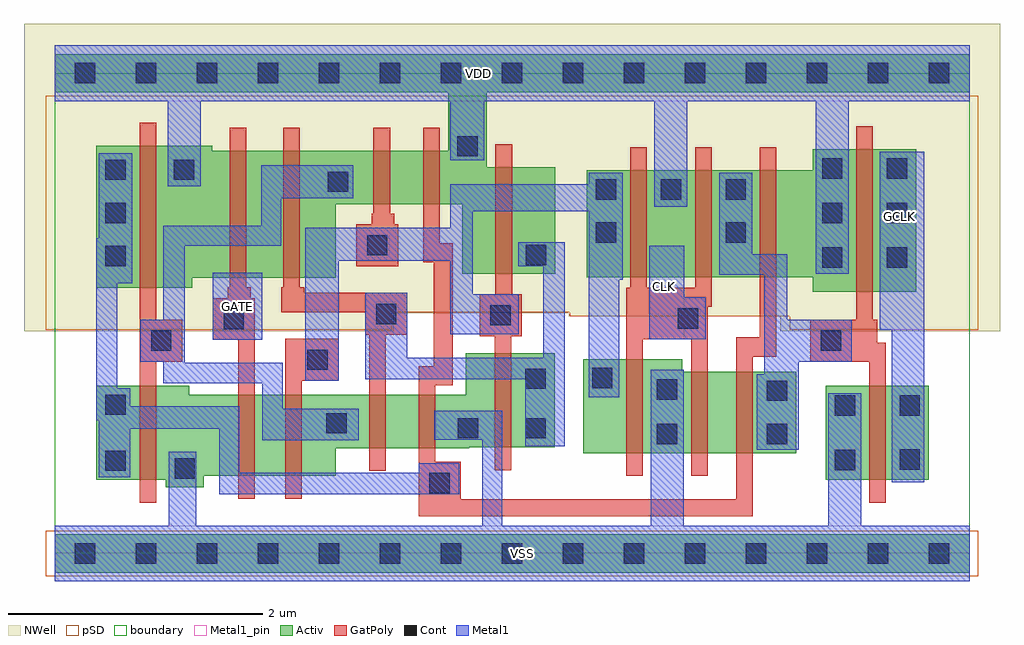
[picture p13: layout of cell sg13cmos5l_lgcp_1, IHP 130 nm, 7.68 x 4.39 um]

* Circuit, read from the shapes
.subckt sg13cmos5l_lgcp_1 CLK GATE GCLK VDD VSS
XM1 VSS n1 n2 VSS sg13_lv_nmos w=0.74u l=0.13u
XM2 n3 GATE VSS VSS sg13_lv_nmos w=0.64u l=0.13u
XM3 n1 n4 n3 VSS sg13_lv_nmos w=0.64u l=0.13u
XM4 n5 n6 n1 VSS sg13_lv_nmos w=0.42u l=0.13u
XM5 VSS n2 n5 VSS sg13_lv_nmos w=0.42u l=0.13u
XM6 n6 n4 VSS VSS sg13_lv_nmos w=0.74u l=0.13u
XM7 VSS CLK n4 VSS sg13_lv_nmos w=0.74u l=0.13u
XM8 n7 CLK VSS VSS sg13_lv_nmos w=0.64u l=0.13u
XM9 n8 n2 n7 VSS sg13_lv_nmos w=0.64u l=0.13u
XM10 GCLK n8 VSS VSS sg13_lv_nmos w=0.74u l=0.13u
XM11 VDD n1 n2 VDD sg13_lv_pmos w=1.12u l=0.13u
XM12 n9 GATE VDD VDD sg13_lv_pmos w=1u l=0.13u
XM13 n1 n6 n9 VDD sg13_lv_pmos w=1u l=0.13u
XM14 n10 n4 n1 VDD sg13_lv_pmos w=0.42u l=0.13u
XM15 VDD n2 n10 VDD sg13_lv_pmos w=0.42u l=0.13u
XM16 n6 n4 VDD VDD sg13_lv_pmos w=0.84u l=0.13u
XM17 VDD CLK n4 VDD sg13_lv_pmos w=0.84u l=0.13u
XM18 n8 CLK VDD VDD sg13_lv_pmos w=0.84u l=0.13u
XM19 VDD n2 n8 VDD sg13_lv_pmos w=0.84u l=0.13u
XM20 GCLK n8 VDD VDD sg13_lv_pmos w=1.12u l=0.13u
.ends

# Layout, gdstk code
import gdstk
lib = gdstk.Library(unit=1e-6, precision=1e-09)
def R(c, l, rs):  # rectangles x0, y0, x1, y1
    for r in rs: c.add(gdstk.rectangle(r[:2], r[2:], *l))
def A(c, l, x, y, w, h, nx, ny, dx, dy):  # array of equal rectangles
    R(c, l, [(x+i*dx, y+j*dy, x+i*dx+w, y+j*dy+h) for i in range(nx) for j in range(ny)])
def P(c, l, *ps):  # polygons
    for p in ps: c.add(gdstk.Polygon(p, *l))
Activ = (1, 0)
GatPoly = (5, 0)
Cont = (6, 0)
Metal1 = (8, 0)
Metal1_pin = (8, 2)
pSD = (14, 0)
NWell = (31, 0)
boundary = (189, 4)

sg13cmos5l_lgcp_1 = lib.new_cell('sg13cmos5l_lgcp_1')
R(sg13cmos5l_lgcp_1, Activ, [(0,-0.15,7.2,0.15), (6.07,0.58,6.88,1.32)])
P(sg13cmos5l_lgcp_1, Activ, [(0.33,2.09),(0.33,3.21),(1.24,3.21),(1.24,3.17),(3.1,3.17),(3.1,3.63),(0,3.63),(0,3.93),(7.2,3.93),(7.2,3.63),(3.4,3.63),(3.4,3.04),(3.94,3.04),(3.94,2.2),(3.21,2.2),(3.21,2.75),(2.215,2.75),(2.215,2.17),(1.085,2.17),(1.085,2.09)],
  [(5.965,2.06),(5.965,2.175),(4.19,2.175),(4.19,3.015),(5.965,3.015),(5.965,3.18),(6.78,3.18),(6.78,2.06)],
  [(4.16,0.79),(4.16,1.53),(4.94,1.53),(4.94,1.43),(5.835,1.43),(5.835,0.79)],
  [(0.875,0.52),(0.875,0.58),(0.33,0.58),(0.33,1.32),(1.06,1.32),(1.06,1.25),(3.235,1.25),(3.235,1.575),(3.935,1.575),(3.935,0.835),(3.265,0.835),(3.265,0.83),(2.215,0.83),(2.215,0.61),(1.175,0.61),(1.175,0.52)])
P(sg13cmos5l_lgcp_1, GatPoly, [(6.41,0.4),(6.41,1.51),(5.945,1.51),(5.945,1.84),(6.31,1.84),(6.31,3.36),(6.44,3.36),(6.44,1.84),(6.475,1.84),(6.475,1.66),(6.54,1.66),(6.54,0.4)],
  [(2.865,0.295),(2.865,1.475),(2.985,1.475),(2.985,2.29),(2.9,2.29),(2.9,3.35),(3.03,3.35),(3.03,2.44),(3.135,2.44),(3.135,1.325),(2.995,1.325),(2.995,0.72),(3.195,0.72),(3.195,0.425),(5.365,0.425),(5.365,1.7),(5.55,1.7),(5.55,3.195),(5.68,3.195),(5.68,1.55),(5.495,1.55),(5.495,0.295)],
  [(4.5,0.61),(4.5,2.09),(4.53,2.09),(4.53,3.195),(4.66,3.195),(4.66,2.09),(5.04,2.09),(5.04,3.195),(5.17,3.195),(5.17,1.94),(5.14,1.94),(5.14,0.61),(5.01,0.61),(5.01,1.685),(4.63,1.685),(4.63,0.61)],
  [(3.465,0.655),(3.465,1.71),(3.345,1.71),(3.345,2.04),(3.47,2.04),(3.47,3.22),(3.6,3.22),(3.6,2.04),(3.675,2.04),(3.675,1.71),(3.595,1.71),(3.595,0.655)],
  [(2.475,0.65),(2.475,1.72),(2.445,1.72),(2.445,1.9),(1.785,1.9),(1.785,2.095),(1.8,2.095),(1.8,3.35),(1.93,3.35),(1.93,2.095),(1.965,2.095),(1.965,2.05),(2.775,2.05),(2.775,1.72),(2.605,1.72),(2.605,0.65)],
  [(2.375,2.26),(2.375,2.59),(2.495,2.59),(2.495,2.675),(2.51,2.675),(2.51,3.35),(2.64,3.35),(2.64,2.675),(2.675,2.675),(2.675,2.59),(2.705,2.59),(2.705,2.26)],
  [(1.815,0.43),(1.815,1.69),(2.235,1.69),(2.235,1.36),(1.945,1.36),(1.945,0.43)],
  [(1.445,0.43),(1.445,1.68),(1.245,1.68),(1.245,2.01),(1.365,2.01),(1.365,2.095),(1.38,2.095),(1.38,3.35),(1.51,3.35),(1.51,2.095),(1.545,2.095),(1.545,2.01),(1.575,2.01),(1.575,0.43)],
  [(0.67,0.4),(0.67,3.39),(0.8,3.39),(0.8,1.84),(1.005,1.84),(1.005,1.51),(0.8,1.51),(0.8,0.4)])
A(sg13cmos5l_lgcp_1, Cont, 0.16, -0.08, 0.16, 0.16, 15, 2, 0.48, 3.78)
A(sg13cmos5l_lgcp_1, Cont, 6.04, 2.25, 0.16, 0.16, 1, 3, 0, 0.35)
A(sg13cmos5l_lgcp_1, Cont, 6.55, 2.25, 0.16, 0.16, 1, 3, 0, 0.35)
A(sg13cmos5l_lgcp_1, Cont, 0.4, 2.26, 0.16, 0.16, 1, 3, 0, 0.34)
A(sg13cmos5l_lgcp_1, Cont, 4.26, 2.785, 0.16, 0.16, 3, 1, 0.51, 0)
R(sg13cmos5l_lgcp_1, Cont, [(2.95,0.475,3.11,0.635), (0.945,0.59,1.105,0.75), (0.4,0.65,0.56,0.81), (6.14,0.655,6.3,0.815), (6.65,0.66,6.81,0.82), (4.74,0.86,4.9,1.02), (5.605,0.86,5.765,1.02), (3.175,0.905,3.335,1.065), (3.705,0.905,3.865,1.065), (2.14,0.945,2.3,1.105), (6.14,1.085,6.3,1.245), (6.65,1.085,6.81,1.245), (0.4,1.09,0.56,1.25), (5.605,1.2,5.765,1.36), (4.74,1.21,4.9,1.37), (3.705,1.295,3.865,1.455), (4.23,1.3,4.39,1.46), (1.99,1.445,2.15,1.605), (0.76,1.595,0.92,1.755), (6.03,1.595,6.19,1.755), (1.33,1.765,1.49,1.925), (4.905,1.77,5.065,1.93), (3.43,1.795,3.59,1.955), (2.53,1.805,2.69,1.965), (3.71,2.27,3.87,2.43), (2.46,2.345,2.62,2.505), (4.26,2.445,4.42,2.605), (5.28,2.445,5.44,2.605), (2.15,2.845,2.31,3.005), (0.94,2.94,1.1,3.1), (3.17,3.125,3.33,3.285)])
R(sg13cmos5l_lgcp_1, Metal1, [(1.245,1.68,1.635,2.21)])
P(sg13cmos5l_lgcp_1, Metal1, [(0,-0.22),(0,0.22),(0.9,0.22),(0.9,0.8),(1.115,0.8),(1.115,0.22),(3.365,0.22),(3.365,0.895),(2.99,0.895),(2.99,1.125),(3.525,1.125),(3.525,0.22),(4.69,0.22),(4.69,1.445),(4.95,1.445),(4.95,0.22),(6.09,0.22),(6.09,1.26),(6.35,1.26),(6.35,0.22),(7.2,0.22),(7.2,-0.22)],
  [(5.99,2.2),(5.99,3.56),(4.98,3.56),(4.98,2.73),(4.72,2.73),(4.72,3.56),(3.38,3.56),(3.38,3.095),(3.115,3.095),(3.115,3.56),(1.15,3.56),(1.15,2.89),(0.89,2.89),(0.89,3.56),(0,3.56),(0,4),(7.2,4),(7.2,3.56),(6.25,3.56),(6.25,2.2)],
  [(6.59,0.56),(6.59,1.76),(6.495,1.76),(6.495,3.16),(6.845,3.16),(6.845,0.56)],
  [(5.525,0.815),(5.525,1.41),(5.585,1.41),(5.585,2.195),(5.23,2.195),(5.23,2.995),(5.49,2.995),(5.49,2.355),(5.765,2.355),(5.765,1.84),(6.275,1.84),(6.275,1.51),(5.855,1.51),(5.855,0.815)],
  [(4.68,1.685),(4.68,2.42),(4.955,2.42),(4.955,2.015),(5.125,2.015),(5.125,1.685)],
  [(4.205,1.23),(4.205,2.695),(3.29,2.695),(3.29,2.04),(3.655,2.04),(3.655,1.725),(3.115,1.725),(3.115,2.305),(2.235,2.305),(2.235,1.36),(1.975,1.36),(1.975,2.565),(3.115,2.565),(3.115,2.905),(4.205,2.905),(4.205,2.995),(4.47,2.995),(4.47,2.155),(4.445,2.155),(4.445,1.23)],
  [(3.705,0.845),(3.705,1.37),(2.445,1.37),(2.445,2.05),(2.775,2.05),(2.775,1.54),(3.845,1.54),(3.845,2.26),(3.65,2.26),(3.65,2.45),(4.015,2.45),(4.015,0.845)],
  [(1.295,0.465),(1.295,0.98),(0.595,0.98),(0.595,0.6),(0.35,0.6),(0.35,1.05),(0.33,1.05),(0.33,2.48),(0.35,2.48),(0.35,3.15),(0.61,3.15),(0.61,2.125),(0.495,2.125),(0.495,1.3),(0.595,1.3),(0.595,1.16),(1.455,1.16),(1.455,0.635),(2.865,0.635),(2.865,0.71),(3.185,0.71),(3.185,0.465)],
  [(1.635,0.89),(1.635,1.34),(0.855,1.34),(0.855,1.51),(0.675,1.51),(0.675,1.84),(0.855,1.84),(0.855,2.58),(1.625,2.58),(1.625,3.055),(2.35,3.055),(2.35,2.795),(1.785,2.795),(1.785,2.42),(1.025,2.42),(1.025,1.5),(1.795,1.5),(1.795,1.14),(2.395,1.14),(2.395,0.89)])
R(sg13cmos5l_lgcp_1, Metal1_pin, [(0,-0.22,7.2,0.22), (1.245,1.68,1.635,2.21), (4.68,1.685,4.955,2.42), (6.495,1.76,6.845,3.16), (0,3.56,7.2,4)])
R(sg13cmos5l_lgcp_1, pSD, [(-0.07,-0.18,7.27,0.18)])
P(sg13cmos5l_lgcp_1, pSD, [(-0.07,1.76),(-0.07,3.6),(7.27,3.6),(7.27,1.76),(5.785,1.76),(5.785,1.865),(4.055,1.865),(4.055,1.9),(2.655,1.9),(2.655,1.76)])
P(sg13cmos5l_lgcp_1, NWell, [(-0.24,1.75),(-0.24,4.17),(7.44,4.17),(7.44,1.75),(5.71,1.75),(5.71,1.865),(4.045,1.865),(4.045,1.89),(2.67,1.89),(2.67,1.75)])
R(sg13cmos5l_lgcp_1, boundary, [(0,0,7.2,3.78)])
sg13cmos5l_lgcp_1.add(gdstk.Label('GCLK', (6.65,2.655), layer=8, texttype=25))
sg13cmos5l_lgcp_1.add(gdstk.Label('VDD', (3.34,3.78), layer=8, texttype=25))
sg13cmos5l_lgcp_1.add(gdstk.Label('CLK', (4.8,2.1), layer=8, texttype=25))
sg13cmos5l_lgcp_1.add(gdstk.Label('VSS', (3.68,0), layer=8, texttype=25))
sg13cmos5l_lgcp_1.add(gdstk.Label('GATE', (1.44,1.94), layer=8, texttype=25))

lib.write_gds('sg13cmos5l_lgcp_1.gds')
